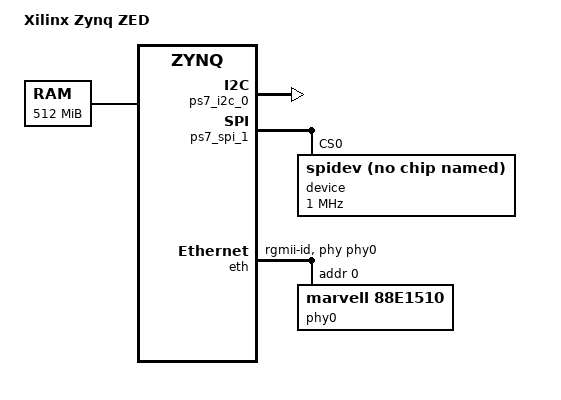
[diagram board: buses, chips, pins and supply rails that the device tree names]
/dts-v1/;

/include/ "zynq.dtsi"

/ {
	model = "Xilinx Zynq ZED";
	memory {
		device_type = "memory";
		reg = <0x000000000 0x20000000>;
	};

	chosen {
//		bootargs = "console=ttyPS0,115200 root=/dev/ram rw initrd=0x1100000,33M ip=:::::eth0:dhcp earlyprintk";
		bootargs = "console=ttyPS0,115200 root=/dev/mmcblk0p2 rw earlyprintk rootfstype=ext4 rootwait devtmpfs.mount=0";
		linux,stdout-path = "/amba@0/uart@E0001000";
	};

	counters@62600000 {
		compatible = "generic-uio";
		reg = < 0x62600000 0x1000 >;
		//interrupts = < 0 57 0 >;
		//interrupt-parent = <&gic>;
	};

	amba@0 {
		compatible = "simple-bus";
		#address-cells = <0x1>;
		#size-cells = <0x1>;
		ranges;
		
		ps7_i2c_0: ps7-i2c@e0004000 {
			bus-id = <0>;
			clocks = <&clkc 38>;
			compatible = "xlnx,ps7-i2c-1.00.a";
			i2c-clk = <25000>;
			interrupt-parent = <&gic>;
			interrupts = <0 25 4>;
			reg = <0xe0004000 0x1000>;
			xlnx,has-interrupt = <0x0>;
			//xlnx,i2c-reset = "MIO 13";
			#address-cells = <1>;
			#size-cells = <0>;

			/*rtc@51 {
				compatible = "nxp,pcf8563";
				reg = <0x51>;
			};*/
		};

		ps7_spi_1: ps7-spi@e0007000 {
			#address-cells=<0x1>;
			#size-cells=<0x0>;
			bus-num = <0>;
			compatible = "xlnx,ps7-spi-1.00.a";
			interrupt-parent = <&gic>;
			interrupts = < 0 49 4 >;
			clock-names = "ref_clk", "aper_clk";
			clocks = <&clkc 26>, <&clkc 35>;
			num-chip-select = <8>;
			reg = < 0xe0007000 0x1000 >;
			speed-hz = <1000000>; // 1 MHz
			xlnx,has-ss0 = <0x1>;
			xlnx,has-ss1 = <0x1>;
			xlnx,has-ss2 = <0x1>;
			xlnx,spi-clk-freq-hz = <0xF4240>; // 1 MHz
			device@0{
				compatible="linux,spidev";
				reg =<0>; //chipselect 0
				spi-max-frequency= <1000000>;  // 1 MHz
			};
		};
	};
};

&eth {
	phy-handle = <&phy0>;
	phy-mode = "rgmii-id";

	phy0: phy@0 {
		compatible = "marvell,88e1510";
		device_type = "ethernet-phy";
		reg = <0x0>;
		marvell,reg-init=<3 16 0xff00 0x1e 3 17 0xfff0 0x0a>;
		//local-mac-address = [00 0a 35 00 00 00];
	};
};

/*	leds {
		compatible = "gpio-leds";
		ld0 {
			label = "ld0:red";
			gpios = <&gpio 73 0>;
		};
	};
*/

